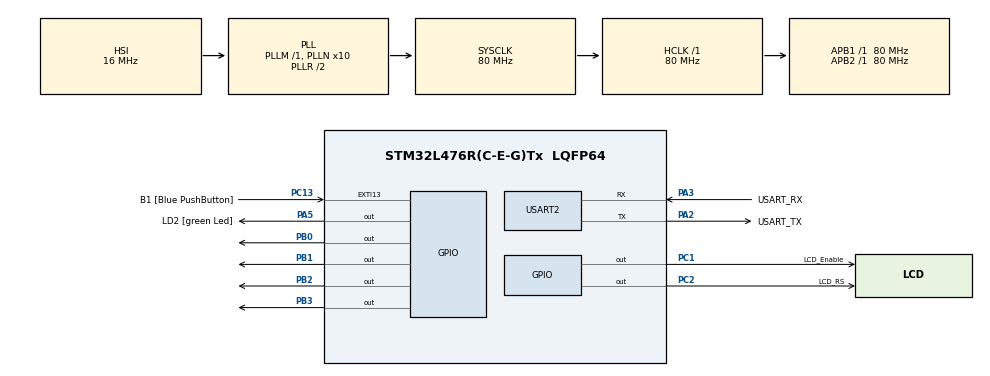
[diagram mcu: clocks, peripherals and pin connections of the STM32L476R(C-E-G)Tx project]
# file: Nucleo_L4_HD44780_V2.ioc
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Mcu.Family=STM32L4
PA2.GPIO_PuPd=GPIO_NOPULL
RCC.CortexFreq_Value=80000000
PH0-OSC_IN\ (PH0).Signal=RCC_OSC_IN
PA3.GPIO_PuPd=GPIO_NOPULL
PA2.GPIO_Speed=GPIO_SPEED_FREQ_VERY_HIGH
PC15-OSC32_OUT\ (PC15).Mode=LSE-External-Oscillator
PC13.GPIO_Label=B1 [Blue PushButton]
PA3.GPIO_Speed=GPIO_SPEED_FREQ_VERY_HIGH
RCC.SYSCLKSource=RCC_SYSCLKSOURCE_PLLCLK
ProjectManager.StackSize=0x400
PB3\ (JTDO-TRACESWO).Signal=GPIO_Output
PC14-OSC32_IN\ (PC14).Mode=LSE-External-Oscillator
PA14\ (JTCK-SWCLK).Signal=SYS_JTCK-SWCLK
RCC.HCLKFreq_Value=80000000
RCC.APB2TimFreq_Value=80000000
RCC.AHBFreq_Value=80000000
RCC.PREFETCH_ENABLE=1
RCC.HSE_VALUE=8000000
PB2.Signal=GPIO_Output
USART2.VirtualMode-Asynchronous=VM_ASYNC
PA5.GPIO_PuPd=GPIO_NOPULL
PC13.GPIO_PuPd=GPIO_NOPULL
Mcu.Package=LQFP64
PB1.Signal=GPIO_Output
PA2.GPIO_Label=USART_TX
RCC.APB1TimFreq_Value=80000000
PB0.GPIO_ModeDefaultOutputPP=GPIO_MODE_OUTPUT_PP
PA13\ (JTMS-SWDIO).Signal=SYS_JTMS-SWDIO
PC2.GPIO_Label=LCD_RS
PA3.Signal=USART2_RX
PA2.GPIO_Mode=GPIO_MODE_AF_PP
RCC.MSI_VALUE=4000000
RCC.PLLSourceVirtual=RCC_PLLSOURCE_HSI
PA14\ (JTCK-SWCLK).Mode=Serial_Wire
PC13.Signal=GPXTI13
PC2.Signal=GPIO_Output
PC15-OSC32_OUT\ (PC15).Signal=RCC_OSC32_OUT
PA14\ (JTCK-SWCLK).GPIO_Label=TCK
PH1-OSC_OUT\ (PH1).Signal=RCC_OSC_OUT
PA3.Mode=Asynchronous
ProjectManager.TargetToolchain=STM32CubeIDE
PA3.GPIO_Mode=GPIO_MODE_AF_PP
RCC.USBFreq_Value=64000000
PA5.Signal=GPIO_Output
board=NUCLEO-L476RG
RCC.VCOOutputFreq_Value=160000000
RCC.APB2Freq_Value=80000000
PA5.GPIO_ModeDefaultOutputPP=GPIO_MODE_OUTPUT_PP
PA13\ (JTMS-SWDIO).GPIO_Label=TMS
RCC.ADCFreq_Value=64000000
PC1.GPIO_Label=LCD_Enable
Mcu.Name=STM32L476R(C-E-G)Tx
PA2.Signal=USART2_TX
PA13\ (JTMS-SWDIO).Mode=Serial_Wire
RCC.SYSCLKFreq_VALUE=80000000
PA5.GPIO_Label=LD2 [green Led]
PC13.GPIO_ModeDefaultEXTI=GPIO_MODE_IT_FALLING
PC14-OSC32_IN\ (PC14).Signal=RCC_OSC32_IN
ProjectManager.HeapSize=0x200
RCC.HSI_VALUE=16000000
PA5.GPIO_Speed=GPIO_SPEED_FREQ_LOW
NVIC.PriorityGroup=NVIC_PRIORITYGROUP_4
RCC.PLLN=10
PA2.Mode=Asynchronous
RCC.APB1Freq_Value=80000000
PB0.Signal=GPIO_Output
PC1.Signal=GPIO_Output
PA3.GPIO_Label=USART_RX

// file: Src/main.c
/* USER CODE BEGIN Header */
/**
  ******************************************************************************
  * @file           : main.c
  * @brief          : Main program body
  ******************************************************************************
  * @attention
  *
  * <h2><center>&copy; Copyright (c) 2020 STMicroelectronics.
  * All rights reserved.</center></h2>
  *
  * This software component is licensed by ST under BSD 3-Clause license,
  * the "License"; You may not use this file except in compliance with the
  * License. You may obtain a copy of the License at:
  *                        opensource.org/licenses/BSD-3-Clause
  *
  ******************************************************************************
  */
/* USER CODE END Header */
#include "main.h"

/* USER CODE BEGIN Includes */
#include <stdarg.h>
#include <stdio.h>
#include <HD44780.h>
/* USER CODE END Includes */

UART_HandleTypeDef huart2;

/* USER CODE BEGIN PV */
/* Private variables ---------------------------------------------------------*/
/* Exported types ------------------------------------------------------------*/

/* Define 6 custom characters to display bar graph*/
char STCustom[48] =
  {
    0x00, 0x00, 0x00, 0x00, 0x00, 0x00, 0x00, 0x00, // Blank
    0x10, 0x10, 0x10, 0x10, 0x10, 0x10, 0x10, 0x10, // 1column  |
    0x18, 0x18, 0x18, 0x18, 0x18, 0x18, 0x18, 0x18, // 2columns ||
    0x1c, 0x1c, 0x1c, 0x1c, 0x1c, 0x1c, 0x1c, 0x1c, // 3columns |||
    0x1e, 0x1e, 0x1e, 0x1e, 0x1e, 0x1e, 0x1e, 0x1e, // 4columns ||||
    0x1f, 0x1f, 0x1f, 0x1f, 0x1f, 0x1f, 0x1f, 0x1f, // 5columns |||||
  };

/* USER CODE END PV */

void SystemClock_Config(void);
static void MX_GPIO_Init(void);
static void MX_USART2_UART_Init(void);
/* USER CODE BEGIN PFP */
/* Private function prototypes -----------------------------------------------*/

/* USER CODE END PFP */

int main(void)
{

  /* MCU Configuration--------------------------------------------------------*/

  /* Reset of all peripherals, Initializes the Flash interface and the Systick. */
  HAL_Init();

  /* Configure the system clock */
  SystemClock_Config();

  /* Initialize all configured peripherals */
  MX_GPIO_Init();
  MX_USART2_UART_Init();
  /* USER CODE BEGIN 2 */
  LCD_INIT();
  LCD_CLEAR_DISPLAY();

  /* Set @CGRAM address start */
  //LCD_CMD(CGRAM_address_start);
  /* Loading 6 characters @CGRAM address from STCustom tab */
  //LCD_LOAD_CGRAM(STCustom, 6);

  /* Set cursor to the chosen position*/
  LCD_LOCATE(1, 1);
  /* Print string on LCD (must be ended with \n)*/
  LCD_printstring("* STM32-L476RG \1\2\3\4\5 *\n");

  /* Print string on LCD (must be ended with \n)*/
  LCD_LOCATE(2, 1);
  LCD_printstring("* Nucleo Board \1\2\3\4\5 *\n");
  /* USER CODE END 2 */

  /* Infinite loop */
  while (1)
  {

    /* USER CODE BEGIN 3 */
	  LCD_RSHIFT();
	  HAL_Delay(1000);
  }
  /* USER CODE END 3 */
}

void SystemClock_Config(void)
{
  RCC_OscInitTypeDef RCC_OscInitStruct = {0};
  RCC_ClkInitTypeDef RCC_ClkInitStruct = {0};
  RCC_PeriphCLKInitTypeDef PeriphClkInit = {0};

  /** Initializes the RCC Oscillators according to the specified parameters
  * in the RCC_OscInitTypeDef structure.
  */
  RCC_OscInitStruct.OscillatorType = RCC_OSCILLATORTYPE_HSI;
  RCC_OscInitStruct.HSIState = RCC_HSI_ON;
  RCC_OscInitStruct.HSICalibrationValue = RCC_HSICALIBRATION_DEFAULT;
  RCC_OscInitStruct.PLL.PLLState = RCC_PLL_ON;
  RCC_OscInitStruct.PLL.PLLSource = RCC_PLLSOURCE_HSI;
  RCC_OscInitStruct.PLL.PLLM = 1;
  RCC_OscInitStruct.PLL.PLLN = 10;
  RCC_OscInitStruct.PLL.PLLP = RCC_PLLP_DIV7;
  RCC_OscInitStruct.PLL.PLLQ = RCC_PLLQ_DIV2;
  RCC_OscInitStruct.PLL.PLLR = RCC_PLLR_DIV2;
  if (HAL_RCC_OscConfig(&RCC_OscInitStruct) != HAL_OK)
  {
    Error_Handler();
  }
  /** Initializes the CPU, AHB and APB buses clocks
  */
  RCC_ClkInitStruct.ClockType = RCC_CLOCKTYPE_HCLK|RCC_CLOCKTYPE_SYSCLK
                              |RCC_CLOCKTYPE_PCLK1|RCC_CLOCKTYPE_PCLK2;
  RCC_ClkInitStruct.SYSCLKSource = RCC_SYSCLKSOURCE_PLLCLK;
  RCC_ClkInitStruct.AHBCLKDivider = RCC_SYSCLK_DIV1;
  RCC_ClkInitStruct.APB1CLKDivider = RCC_HCLK_DIV1;
  RCC_ClkInitStruct.APB2CLKDivider = RCC_HCLK_DIV1;

  if (HAL_RCC_ClockConfig(&RCC_ClkInitStruct, FLASH_LATENCY_4) != HAL_OK)
  {
    Error_Handler();
  }
  PeriphClkInit.PeriphClockSelection = RCC_PERIPHCLK_USART2;
  PeriphClkInit.Usart2ClockSelection = RCC_USART2CLKSOURCE_PCLK1;
  if (HAL_RCCEx_PeriphCLKConfig(&PeriphClkInit) != HAL_OK)
  {
    Error_Handler();
  }
  /** Configure the main internal regulator output voltage
  */
  if (HAL_PWREx_ControlVoltageScaling(PWR_REGULATOR_VOLTAGE_SCALE1) != HAL_OK)
  {
    Error_Handler();
  }
}

static void MX_USART2_UART_Init(void)
{

  huart2.Instance = USART2;
  huart2.Init.BaudRate = 115200;
  huart2.Init.WordLength = UART_WORDLENGTH_8B;
  huart2.Init.StopBits = UART_STOPBITS_1;
  huart2.Init.Parity = UART_PARITY_NONE;
  huart2.Init.Mode = UART_MODE_TX_RX;
  huart2.Init.HwFlowCtl = UART_HWCONTROL_NONE;
  huart2.Init.OverSampling = UART_OVERSAMPLING_16;
  huart2.Init.OneBitSampling = UART_ONE_BIT_SAMPLE_DISABLE;
  huart2.AdvancedInit.AdvFeatureInit = UART_ADVFEATURE_NO_INIT;
  if (HAL_UART_Init(&huart2) != HAL_OK)
  {
    Error_Handler();
  }

}

static void MX_GPIO_Init(void)
{
  GPIO_InitTypeDef GPIO_InitStruct = {0};

  /* GPIO Ports Clock Enable */
  __HAL_RCC_GPIOC_CLK_ENABLE();
  __HAL_RCC_GPIOH_CLK_ENABLE();
  __HAL_RCC_GPIOA_CLK_ENABLE();
  __HAL_RCC_GPIOB_CLK_ENABLE();

  /*Configure GPIO pin Output Level */
  HAL_GPIO_WritePin(GPIOC, LCD_Enable_Pin|LCD_RS_Pin, GPIO_PIN_RESET);

  /*Configure GPIO pin Output Level */
  HAL_GPIO_WritePin(LD2_GPIO_Port, LD2_Pin, GPIO_PIN_RESET);

  /*Configure GPIO pin Output Level */
  HAL_GPIO_WritePin(GPIOB, GPIO_PIN_0|GPIO_PIN_1|GPIO_PIN_2|GPIO_PIN_3, GPIO_PIN_RESET);

  /*Configure GPIO pin : B1_Pin */
  GPIO_InitStruct.Pin = B1_Pin;
  GPIO_InitStruct.Mode = GPIO_MODE_IT_FALLING;
  GPIO_InitStruct.Pull = GPIO_NOPULL;
  HAL_GPIO_Init(B1_GPIO_Port, &GPIO_InitStruct);

  /*Configure GPIO pins : LCD_Enable_Pin LCD_RS_Pin */
  GPIO_InitStruct.Pin = LCD_Enable_Pin|LCD_RS_Pin;
  GPIO_InitStruct.Mode = GPIO_MODE_OUTPUT_PP;
  GPIO_InitStruct.Pull = GPIO_NOPULL;
  GPIO_InitStruct.Speed = GPIO_SPEED_FREQ_LOW;
  HAL_GPIO_Init(GPIOC, &GPIO_InitStruct);

  /*Configure GPIO pin : LD2_Pin */
  GPIO_InitStruct.Pin = LD2_Pin;
  GPIO_InitStruct.Mode = GPIO_MODE_OUTPUT_PP;
  GPIO_InitStruct.Pull = GPIO_NOPULL;
  GPIO_InitStruct.Speed = GPIO_SPEED_FREQ_LOW;
  HAL_GPIO_Init(LD2_GPIO_Port, &GPIO_InitStruct);

  /*Configure GPIO pins : PB0 PB1 PB2 PB3 */
  GPIO_InitStruct.Pin = GPIO_PIN_0|GPIO_PIN_1|GPIO_PIN_2|GPIO_PIN_3;
  GPIO_InitStruct.Mode = GPIO_MODE_OUTPUT_PP;
  GPIO_InitStruct.Pull = GPIO_NOPULL;
  GPIO_InitStruct.Speed = GPIO_SPEED_FREQ_LOW;
  HAL_GPIO_Init(GPIOB, &GPIO_InitStruct);

}

void Error_Handler(void)
{
  while(1)
  {
  }
}

/************************ (C) COPYRIGHT STMicroelectronics *****END OF FILE****/
